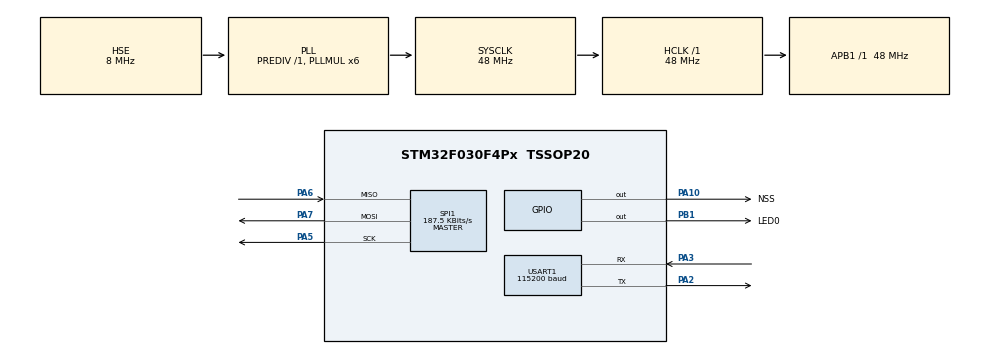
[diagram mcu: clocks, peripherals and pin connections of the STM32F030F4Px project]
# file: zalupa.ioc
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Mcu.Family=STM32F0
Mcu.Name=STM32F030F4Px
Mcu.Package=TSSOP20
NVIC.SPI1_IRQn=true\:1\:0\:true\:false\:true\:true\:true\:true
NVIC.USART1_IRQn=true\:0\:0\:true\:false\:true\:true\:true\:true
PA10.GPIO_FMA10=__NULL
PA10.GPIO_Label=NSS
PA10.GPIO_PuPd=GPIO_PULLUP
PA10.GPIO_Speed=GPIO_SPEED_FREQ_HIGH
PA10.PinState=GPIO_PIN_RESET
PA10.Signal=GPIO_Output
PA13.Mode=Serial_Wire
PA13.Signal=SYS_SWDIO
PA14.Mode=Serial_Wire
PA14.Signal=SYS_SWCLK
PA2.Mode=Asynchronous
PA2.Signal=USART1_TX
PA3.Mode=Asynchronous
PA3.Signal=USART1_RX
PA5.Mode=Full_Duplex_Master
PA5.Signal=SPI1_SCK
PA6.Mode=Full_Duplex_Master
PA6.Signal=SPI1_MISO
PA7.Mode=Full_Duplex_Master
PA7.Signal=SPI1_MOSI
PB1.GPIO_Label=LED0
PB1.GPIO_PuPd=GPIO_PULLUP
PB1.PinState=GPIO_PIN_RESET
PB1.Signal=GPIO_Output
PF0-OSC_IN.Mode=HSE-External-Oscillator
PF0-OSC_IN.Signal=RCC_OSC_IN
PF1-OSC_OUT.Mode=HSE-External-Oscillator
PF1-OSC_OUT.Signal=RCC_OSC_OUT
ProjectManager.HeapSize=0x200
ProjectManager.StackSize=0x400
ProjectManager.TargetToolchain=STM32CubeIDE
RCC.AHBFreq_Value=48000000
RCC.APB1Freq_Value=48000000
RCC.APB1TimFreq_Value=48000000
RCC.HCLKFreq_Value=48000000
RCC.PLLMUL=RCC_PLL_MUL6
RCC.PLLSourceVirtual=RCC_PLLSOURCE_HSE
RCC.SYSCLKFreq_VALUE=48000000
RCC.SYSCLKSource=RCC_SYSCLKSOURCE_PLLCLK
SPI1.BaudRatePrescaler=SPI_BAUDRATEPRESCALER_256
SPI1.CLKPolarity=SPI_POLARITY_HIGH
SPI1.CalculateBaudRate=187.5 KBits/s
SPI1.DataSize=SPI_DATASIZE_8BIT
SPI1.Direction=SPI_DIRECTION_2LINES
SPI1.Mode=SPI_MODE_MASTER
SPI1.VirtualType=VM_MASTER
USART1.BaudRate=115200
USART1.VirtualMode-Asynchronous=VM_ASYNC
board=custom

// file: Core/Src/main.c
/* USER CODE BEGIN Header */
/**
 ******************************************************************************
 * @file           : main.c
 * @brief          : Main program body
 ******************************************************************************
 * @attention
 *
 * Copyright (c) 2022 STMicroelectronics.
 * All rights reserved.
 *
 * This software is licensed under terms that can be found in the LICENSE file
 * in the root directory of this software component.
 * If no LICENSE file comes with this software, it is provided AS-IS.
 *
 ******************************************************************************
 */
/* USER CODE END Header */
#include "main.h"
#include "spi.h"
#include "usart.h"
#include "gpio.h"

/* USER CODE BEGIN Includes */
//#include <stdbyte.h>
/* USER CODE END Includes */

/* USER CODE BEGIN PV */
////for_UART
//for_recive
uint8_t rx_data[57];
uint8_t rx_length;

//for_transmit
uint8_t tx_data[] = { 0x02, 0x01, 0x31, 0xCD };
uint8_t tx_data_pusk[] = { 0x02, 0x03, 0x36, 0x00, 0x00, 0xC8 };
uint8_t tx_data_ostanov[] = { 0x02, 0x01, 0x37, 0xCB };

////for_SPI
uint8_t answer[] = { 0x00, 0x00 };
uint8_t ask[] = { 0x00, 0x00 };

////for_command
uint8_t command = 0;
uint8_t command_ask = 0;

//flags
uint8_t flagT = 0;
uint8_t flagR = 0;
uint8_t flagSPI = 0;
uint8_t flagTemp = 0;

//timeStop
uint32_t timeStopR;

//Temperature
uint8_t Tr[] = { 0x00, 0x00, 0x00, 0x00 };
uint8_t Tz[] = { 0x00, 0x00, 0x00, 0x00 };

/* USER CODE END PV */

void SystemClock_Config(void);

int main(void)
{

  /* MCU Configuration--------------------------------------------------------*/

  /* Reset of all peripherals, Initializes the Flash interface and the Systick. */
  HAL_Init();

  /* Configure the system clock */
  SystemClock_Config();

  /* Initialize all configured peripherals */
  MX_GPIO_Init();
  MX_SPI1_Init();
  MX_USART1_UART_Init();

  /* Infinite loop */
  /* USER CODE BEGIN WHILE */
	while (1) {

		if (answer[0] != 0x00) {
			HAL_GPIO_WritePin(LED0_GPIO_Port, LED0_Pin, RESET);
		}

		//		Check_Temp();
				//begin_check_temp
				float tr = *(float*) &Tr;
				float tz = *(float*) &Tz;

				if (answer[0] == 0x02) {
					if (tr >= tz && command_ask && !flagTemp) {
						//ohlajdaet
						command = 1;
						answer[1] = 0x00;
						command_ask = 0;
						flagTemp = 1;
					}
					if (tr < tz && flagTemp && !command_ask) {
						//ohladil
						command = 2;
						answer[1] = 0x01;
						flagTemp = 0;
					}
				}
					//end_check_temp

		//begin_transmit_receive

//		UART_Transmit();
		//begin_transmit
		switch (command) {
		case 1:
			HAL_UART_Transmit_IT(&huart1, tx_data_pusk, 6);
			rx_length = 1;
			break;
		case 2:
			HAL_UART_Transmit_IT(&huart1, tx_data_ostanov, 4);
			rx_length = 1;
			break;
		default:
			HAL_UART_Transmit_IT(&huart1, tx_data, 4);
			rx_length = 57;
			break;
		}
		while (!flagT) {
		}
		flagT = 0;
		//end_transmit

//		UART_Receive();
		//begin_receive
		timeStopR = HAL_GetTick();
		HAL_UART_Receive_IT(&huart1, rx_data, rx_length);
		while (!flagR) {
			if ((HAL_GetTick() - timeStopR) > 15) {
				HAL_GPIO_WritePin(LED0_GPIO_Port, LED0_Pin, SET);
				flagR = 1;
				HAL_UART_AbortReceive(&huart1);
				answer[0] = 0x00;
			}
		}
		flagR = 0;
		//end_receive

		//end_transmit_receive

		//begin_SPI
		HAL_GPIO_WritePin(NSS_GPIO_Port, NSS_Pin, GPIO_PIN_RESET);
		HAL_SPI_TransmitReceive_IT(&hspi1, answer, ask, 2);
		while (!flagSPI) {
		}
		flagSPI = 0;
		//end_SPI

    /* USER CODE END WHILE */

	}
}

void SystemClock_Config(void)
{
  RCC_OscInitTypeDef RCC_OscInitStruct = {0};
  RCC_ClkInitTypeDef RCC_ClkInitStruct = {0};
  RCC_PeriphCLKInitTypeDef PeriphClkInit = {0};

  /** Initializes the RCC Oscillators according to the specified parameters
  * in the RCC_OscInitTypeDef structure.
  */
  RCC_OscInitStruct.OscillatorType = RCC_OSCILLATORTYPE_HSE;
  RCC_OscInitStruct.HSEState = RCC_HSE_ON;
  RCC_OscInitStruct.PLL.PLLState = RCC_PLL_ON;
  RCC_OscInitStruct.PLL.PLLSource = RCC_PLLSOURCE_HSE;
  RCC_OscInitStruct.PLL.PLLMUL = RCC_PLL_MUL6;
  RCC_OscInitStruct.PLL.PREDIV = RCC_PREDIV_DIV1;
  if (HAL_RCC_OscConfig(&RCC_OscInitStruct) != HAL_OK)
  {
    Error_Handler();
  }

  /** Initializes the CPU, AHB and APB buses clocks
  */
  RCC_ClkInitStruct.ClockType = RCC_CLOCKTYPE_HCLK|RCC_CLOCKTYPE_SYSCLK
                              |RCC_CLOCKTYPE_PCLK1;
  RCC_ClkInitStruct.SYSCLKSource = RCC_SYSCLKSOURCE_PLLCLK;
  RCC_ClkInitStruct.AHBCLKDivider = RCC_SYSCLK_DIV1;
  RCC_ClkInitStruct.APB1CLKDivider = RCC_HCLK_DIV1;

  if (HAL_RCC_ClockConfig(&RCC_ClkInitStruct, FLASH_LATENCY_1) != HAL_OK)
  {
    Error_Handler();
  }
  PeriphClkInit.PeriphClockSelection = RCC_PERIPHCLK_USART1;
  PeriphClkInit.Usart1ClockSelection = RCC_USART1CLKSOURCE_PCLK1;
  if (HAL_RCCEx_PeriphCLKConfig(&PeriphClkInit) != HAL_OK)
  {
    Error_Handler();
  }
}

/* USER CODE BEGIN 4 */

void HAL_UART_TxCpltCallback(UART_HandleTypeDef *huart) {

	if (huart == &huart1) {
		flagT = 1;
	}

}

void HAL_UART_RxCpltCallback(UART_HandleTypeDef *huart) {

	if (huart == &huart1) {
		switch (rx_length) {
		case 1:
			if (rx_data[0] == 0x06) {
				command = 0;
			}
			break;
		default:
			switch (rx_data[23]) {
			case 0x01:
				answer[0] = 0x01;
				break;
			case 0x02:
				answer[0] = 0x02;
				break;
			case 0x00:
				answer[0] = 0x03;
				break;
			}

			//сохраняем температуру
			for (int var = 0; var < 3; ++var) {
				Tr[var] = rx_data[9 + var];
				Tz[var] = rx_data[26 + var];
			}

			//проверка на нагрев/охлаждение
			if (rx_data[44] == 0x01){
				flagTemp = 1;
			} else {
				flagTemp = 0;
			}

			break;
		}
		flagR = 1;
	}

}

void HAL_SPI_TxRxCpltCallback(SPI_HandleTypeDef *hspi) {

	if (hspi == &hspi1) {
		if (!hspi1.RxXferCount) {
			HAL_GPIO_WritePin(NSS_GPIO_Port, NSS_Pin, GPIO_PIN_SET);

			switch (ask[0]) {
			case 0x01:
				command_ask = 1;
				break;
			default:
				command_ask = 0;
				break;
			}

			flagSPI = 1;
		}
	}

}

/* USER CODE END 4 */

void Error_Handler(void)
{
	__disable_irq();
	while (1) {
	}
}
